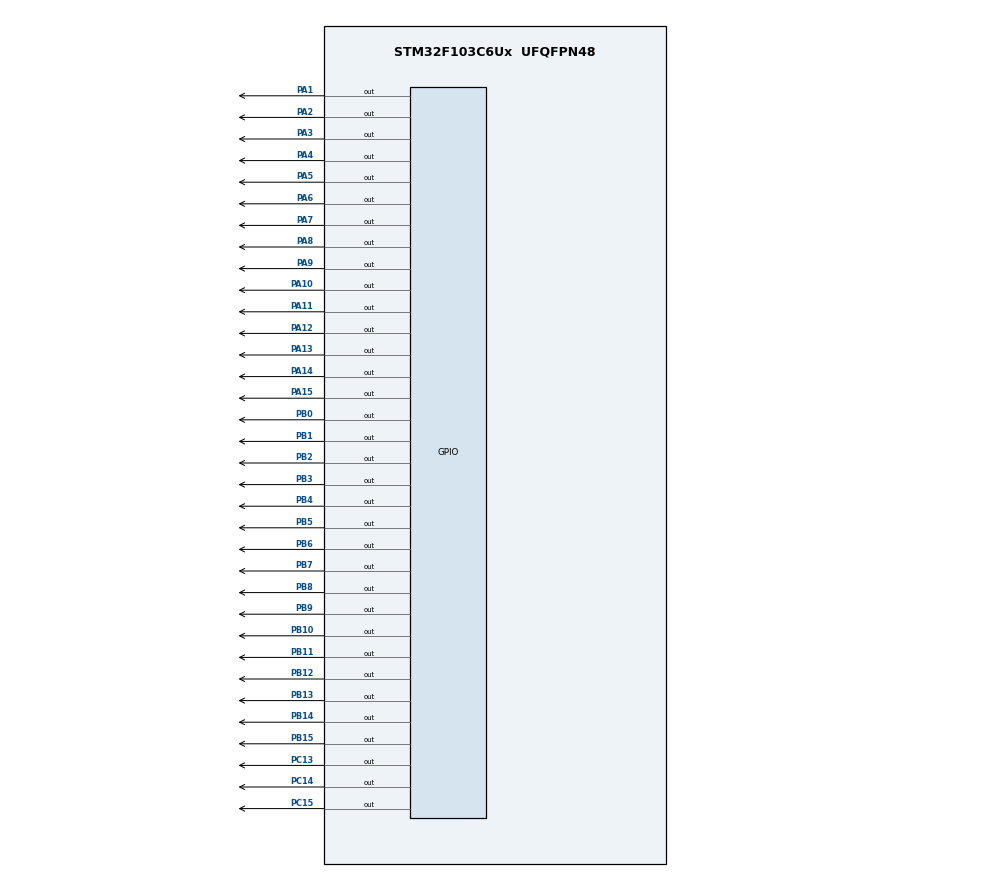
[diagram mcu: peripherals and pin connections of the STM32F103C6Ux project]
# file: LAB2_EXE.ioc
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Mcu.Family=STM32F1
Mcu.Name=STM32F103C6Ux
Mcu.Package=UFQFPN48
NVIC.PriorityGroup=NVIC_PRIORITYGROUP_4
NVIC.TIM2_IRQn=true\:0\:0\:false\:false\:true\:true\:true
PA1.Signal=GPIO_Output
PA10.Signal=GPIO_Output
PA11.Signal=GPIO_Output
PA12.Signal=GPIO_Output
PA13.Signal=GPIO_Output
PA14.Signal=GPIO_Output
PA15.Signal=GPIO_Output
PA2.Signal=GPIO_Output
PA3.Signal=GPIO_Output
PA4.Signal=GPIO_Output
PA5.Signal=GPIO_Output
PA6.Signal=GPIO_Output
PA7.Signal=GPIO_Output
PA8.Signal=GPIO_Output
PA9.Signal=GPIO_Output
PB0.Signal=GPIO_Output
PB1.Signal=GPIO_Output
PB10.Signal=GPIO_Output
PB11.Signal=GPIO_Output
PB12.Signal=GPIO_Output
PB13.Signal=GPIO_Output
PB14.Signal=GPIO_Output
PB15.Signal=GPIO_Output
PB2.Signal=GPIO_Output
PB3.Signal=GPIO_Output
PB4.Signal=GPIO_Output
PB5.Signal=GPIO_Output
PB6.Signal=GPIO_Output
PB7.Signal=GPIO_Output
PB8.Signal=GPIO_Output
PB9.Signal=GPIO_Output
PC13-TAMPER-RTC.Signal=GPIO_Output
PC14-OSC32_IN.Signal=GPIO_Output
PC15-OSC32_OUT.Signal=GPIO_Output
ProjectManager.HeapSize=0x200
ProjectManager.StackSize=0x400
ProjectManager.TargetToolchain=STM32CubeIDE
RCC.APB1Freq_Value=8000000
RCC.APB2Freq_Value=8000000
TIM2.Period=9
TIM2.Prescaler=7999
VP_SYS_VS_ND.Mode=No_Debug
VP_TIM2_VS_ClockSourceINT.Mode=Internal
board=custom

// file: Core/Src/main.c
/* USER CODE BEGIN Header */
/**
  ******************************************************************************
  * @file           : main.c
  * @brief          : Main program body
  ******************************************************************************
  * @attention
  *
  * <h2><center>&copy; Copyright (c) 2023 STMicroelectronics.
  * All rights reserved.</center></h2>
  *
  * This software component is licensed by ST under BSD 3-Clause license,
  * the "License"; You may not use this file except in compliance with the
  * License. You may obtain a copy of the License at:
  *                        opensource.org/licenses/BSD-3-Clause
  *
  ******************************************************************************
  */
/* USER CODE END Header */
#include "main.h"
#include "software_timer.h"
#include "Led7Segment.h"

TIM_HandleTypeDef htim2;

void SystemClock_Config(void);
static void MX_GPIO_Init(void);
static void MX_TIM2_Init(void);

int main(void)
{

  /* MCU Configuration--------------------------------------------------------*/

  /* Reset of all peripherals, Initializes the Flash interface and the Systick. */
  HAL_Init();

  /* Configure the system clock */
  SystemClock_Config();

  /* Initialize all configured peripherals */
  MX_GPIO_Init();
  MX_TIM2_Init();
  /* USER CODE BEGIN 2 */
  HAL_TIM_Base_Start_IT(&htim2);
  /* USER CODE END 2 */

  /* Infinite loop */
  /* USER CODE BEGIN WHILE */
  set_Timer1(2);
  set_Timer2(2);
  set_Timer3(2);
  set_Timer4(2);
  int state =0;
  int led_buffer [4] = {1 , 2 , 3 , 4};
  int hour = 15 , minute = 8 , second = 50;
  int time_lenght = 500;

  void update7SEG ( int index ) {
	  	  switch (index){
	  	  case 0:
	  		  display7SEG(1,led_buffer[0]);
	  		  break;
	  	  case 1:
	  		  display7SEG(1,led_buffer[1]);
	  		  break;
	  	  case 2:
	  		  display7SEG(1,led_buffer[2]);
	  		  break;
	  	  case 3:
	  		  display7SEG(1,led_buffer[3]);
	  		  break;
	  	  }

  }
  void updateClockBuffer ()
    {
  	  led_buffer[0]=hour/10;
  	  led_buffer[1]=hour%10;
  	  led_buffer[2]=minute/10;
  	  led_buffer[3]=minute%10;
  	  switch (state){
  	  		  case 0:
  	  			  if(timer1_flag == 1)
  	  			  {
  	  				  update7SEG(0);
  	  			  HAL_GPIO_WritePin(GPIOB, GPIO_PIN_13, 0);
  	  			  HAL_GPIO_WritePin(GPIOB, GPIO_PIN_14, 1);
  	  			  HAL_GPIO_WritePin(GPIOB, GPIO_PIN_12, 1);
  	  			  HAL_GPIO_WritePin(GPIOB, GPIO_PIN_11, 1);
  	  			  state =1;
  	  			  set_Timer1(time_lenght/40);
  	  			  }
  	  			  break;
  	  		  case 1:
  	  			  if(timer1_flag==1)
  	  			  {
  	  				  update7SEG(1);
  	  				  HAL_GPIO_WritePin(GPIOB, GPIO_PIN_13, 1);
  	  				  HAL_GPIO_WritePin(GPIOB, GPIO_PIN_14, 0);
  	  				  HAL_GPIO_WritePin(GPIOB, GPIO_PIN_12, 1);
  	  				  HAL_GPIO_WritePin(GPIOB, GPIO_PIN_11, 1);
  	  			  state =2;
  	  			  set_Timer1(time_lenght/40);
  	  			  }
  	  			  break;
  	  		  case 2:
  	  			  if(timer1_flag ==1)
  	  			  {
  	  				  update7SEG(2);
  	  				  HAL_GPIO_WritePin(GPIOB, GPIO_PIN_13, 1);
  	  				  HAL_GPIO_WritePin(GPIOB, GPIO_PIN_14, 1);
  	  				  HAL_GPIO_WritePin(GPIOB, GPIO_PIN_12, 0);
  	  				  HAL_GPIO_WritePin(GPIOB, GPIO_PIN_11, 1);
  	  				  state =3;
  	  				  set_Timer1(time_lenght/40);
  	  			  }
  	  			  break;
  	  		  case 3:
  	  			  if(timer1_flag ==1)
  	  			  {
  	  				  update7SEG(3);
  	  				  HAL_GPIO_WritePin(GPIOB, GPIO_PIN_13, 1);
  	  				  HAL_GPIO_WritePin(GPIOB, GPIO_PIN_14, 1);
  	  				  HAL_GPIO_WritePin(GPIOB, GPIO_PIN_12, 1);
  	  				  HAL_GPIO_WritePin(GPIOB, GPIO_PIN_11, 0);
  	  				  state =0;
  	  				  set_Timer1(time_lenght/40);
  	  			  }
  	  			  break;

  	  		  }
    }

  while (1)
  {
    /* USER CODE END WHILE */
	  if(timer2_flag==1){
	 	  	  second++;
	 		  if(second>=60)
	 		  {
	 			  second =0;
	 			  minute++;
	 		  }
	 		  if(minute >=60)
	 		  {
	 			  minute =0;
	 			  hour++;
	 		  }
	 		  if(hour >= 24)
	 		  {
	 			  hour =0;
	 		  }

	 		  set_Timer2(time_lenght/10);
	 		  }
	 		  if(timer3_flag==1)
	 		  {
	 			  HAL_GPIO_TogglePin(GPIOB, GPIO_PIN_10);
	 			  set_Timer3(time_lenght/20);
	 		  }
	 		  updateClockBuffer();
	 		 if(timer4_flag == 1){
	 		 		  updateLEDMatrix(index_led_matrix++);
	 		 		  if(index_led_matrix >= MAX_LED_MATRIX){
	 		 			  index_led_matrix = 0;
	 		 			shiftMatrixBufferRight();
	 		 			  animation++;
	 		 			  if(animation == 8)
	 		 				  {
	 		 		 			shiftMatrixBufferRight();
	 		 				  	  animation =0;
	 		 				  }
	 		 		  }
	 		 		  set_Timer4(10);
	 		 	  }

  }
}

void SystemClock_Config(void)
{
  RCC_OscInitTypeDef RCC_OscInitStruct = {0};
  RCC_ClkInitTypeDef RCC_ClkInitStruct = {0};

  /** Initializes the RCC Oscillators according to the specified parameters
  * in the RCC_OscInitTypeDef structure.
  */
  RCC_OscInitStruct.OscillatorType = RCC_OSCILLATORTYPE_HSI;
  RCC_OscInitStruct.HSIState = RCC_HSI_ON;
  RCC_OscInitStruct.HSICalibrationValue = RCC_HSICALIBRATION_DEFAULT;
  RCC_OscInitStruct.PLL.PLLState = RCC_PLL_NONE;
  if (HAL_RCC_OscConfig(&RCC_OscInitStruct) != HAL_OK)
  {
    Error_Handler();
  }
  /** Initializes the CPU, AHB and APB buses clocks
  */
  RCC_ClkInitStruct.ClockType = RCC_CLOCKTYPE_HCLK|RCC_CLOCKTYPE_SYSCLK
                              |RCC_CLOCKTYPE_PCLK1|RCC_CLOCKTYPE_PCLK2;
  RCC_ClkInitStruct.SYSCLKSource = RCC_SYSCLKSOURCE_HSI;
  RCC_ClkInitStruct.AHBCLKDivider = RCC_SYSCLK_DIV1;
  RCC_ClkInitStruct.APB1CLKDivider = RCC_HCLK_DIV1;
  RCC_ClkInitStruct.APB2CLKDivider = RCC_HCLK_DIV1;

  if (HAL_RCC_ClockConfig(&RCC_ClkInitStruct, FLASH_LATENCY_0) != HAL_OK)
  {
    Error_Handler();
  }
}

static void MX_TIM2_Init(void)
{

  TIM_ClockConfigTypeDef sClockSourceConfig = {0};
  TIM_MasterConfigTypeDef sMasterConfig = {0};

  htim2.Instance = TIM2;
  htim2.Init.Prescaler = 7999;
  htim2.Init.CounterMode = TIM_COUNTERMODE_UP;
  htim2.Init.Period = 9;
  htim2.Init.ClockDivision = TIM_CLOCKDIVISION_DIV1;
  htim2.Init.AutoReloadPreload = TIM_AUTORELOAD_PRELOAD_DISABLE;
  if (HAL_TIM_Base_Init(&htim2) != HAL_OK)
  {
    Error_Handler();
  }
  sClockSourceConfig.ClockSource = TIM_CLOCKSOURCE_INTERNAL;
  if (HAL_TIM_ConfigClockSource(&htim2, &sClockSourceConfig) != HAL_OK)
  {
    Error_Handler();
  }
  sMasterConfig.MasterOutputTrigger = TIM_TRGO_RESET;
  sMasterConfig.MasterSlaveMode = TIM_MASTERSLAVEMODE_DISABLE;
  if (HAL_TIMEx_MasterConfigSynchronization(&htim2, &sMasterConfig) != HAL_OK)
  {
    Error_Handler();
  }

}

static void MX_GPIO_Init(void)
{
  GPIO_InitTypeDef GPIO_InitStruct = {0};

  /* GPIO Ports Clock Enable */
  __HAL_RCC_GPIOC_CLK_ENABLE();
  __HAL_RCC_GPIOA_CLK_ENABLE();
  __HAL_RCC_GPIOB_CLK_ENABLE();

  /*Configure GPIO pin Output Level */
  HAL_GPIO_WritePin(GPIOC, GPIO_PIN_13|GPIO_PIN_14|GPIO_PIN_15, GPIO_PIN_RESET);

  /*Configure GPIO pin Output Level */
  HAL_GPIO_WritePin(GPIOA, GPIO_PIN_1|GPIO_PIN_2|GPIO_PIN_3|GPIO_PIN_4
                          |GPIO_PIN_5|GPIO_PIN_6|GPIO_PIN_7|GPIO_PIN_8
                          |GPIO_PIN_9|GPIO_PIN_10|GPIO_PIN_11|GPIO_PIN_12
                          |GPIO_PIN_13|GPIO_PIN_14|GPIO_PIN_15, GPIO_PIN_RESET);

  /*Configure GPIO pin Output Level */
  HAL_GPIO_WritePin(GPIOB, GPIO_PIN_0|GPIO_PIN_1|GPIO_PIN_2|GPIO_PIN_10
                          |GPIO_PIN_11|GPIO_PIN_12|GPIO_PIN_13|GPIO_PIN_14
                          |GPIO_PIN_15|GPIO_PIN_3|GPIO_PIN_4|GPIO_PIN_5
                          |GPIO_PIN_6|GPIO_PIN_7|GPIO_PIN_8|GPIO_PIN_9, GPIO_PIN_RESET);

  /*Configure GPIO pins : PC13 PC14 PC15 */
  GPIO_InitStruct.Pin = GPIO_PIN_13|GPIO_PIN_14|GPIO_PIN_15;
  GPIO_InitStruct.Mode = GPIO_MODE_OUTPUT_PP;
  GPIO_InitStruct.Pull = GPIO_NOPULL;
  GPIO_InitStruct.Speed = GPIO_SPEED_FREQ_LOW;
  HAL_GPIO_Init(GPIOC, &GPIO_InitStruct);

  /*Configure GPIO pins : PA1 PA2 PA3 PA4
                           PA5 PA6 PA7 PA8
                           PA9 PA10 PA11 PA12
                           PA13 PA14 PA15 */
  GPIO_InitStruct.Pin = GPIO_PIN_1|GPIO_PIN_2|GPIO_PIN_3|GPIO_PIN_4
                          |GPIO_PIN_5|GPIO_PIN_6|GPIO_PIN_7|GPIO_PIN_8
                          |GPIO_PIN_9|GPIO_PIN_10|GPIO_PIN_11|GPIO_PIN_12
                          |GPIO_PIN_13|GPIO_PIN_14|GPIO_PIN_15;
  GPIO_InitStruct.Mode = GPIO_MODE_OUTPUT_PP;
  GPIO_InitStruct.Pull = GPIO_NOPULL;
  GPIO_InitStruct.Speed = GPIO_SPEED_FREQ_LOW;
  HAL_GPIO_Init(GPIOA, &GPIO_InitStruct);

  /*Configure GPIO pins : PB0 PB1 PB2 PB10
                           PB11 PB12 PB13 PB14
                           PB15 PB3 PB4 PB5
                           PB6 PB7 PB8 PB9 */
  GPIO_InitStruct.Pin = GPIO_PIN_0|GPIO_PIN_1|GPIO_PIN_2|GPIO_PIN_10
                          |GPIO_PIN_11|GPIO_PIN_12|GPIO_PIN_13|GPIO_PIN_14
                          |GPIO_PIN_15|GPIO_PIN_3|GPIO_PIN_4|GPIO_PIN_5
                          |GPIO_PIN_6|GPIO_PIN_7|GPIO_PIN_8|GPIO_PIN_9;
  GPIO_InitStruct.Mode = GPIO_MODE_OUTPUT_PP;
  GPIO_InitStruct.Pull = GPIO_NOPULL;
  GPIO_InitStruct.Speed = GPIO_SPEED_FREQ_LOW;
  HAL_GPIO_Init(GPIOB, &GPIO_InitStruct);

}

/* USER CODE BEGIN 4 */

void HAL_TIM_PeriodElapsedCallback(TIM_HandleTypeDef *htim)
{
	timerRun();

}
/* USER CODE END 4 */

void Error_Handler(void)
{
  __disable_irq();
  while (1)
  {
  }
}

/************************ (C) COPYRIGHT STMicroelectronics *****END OF FILE****/
